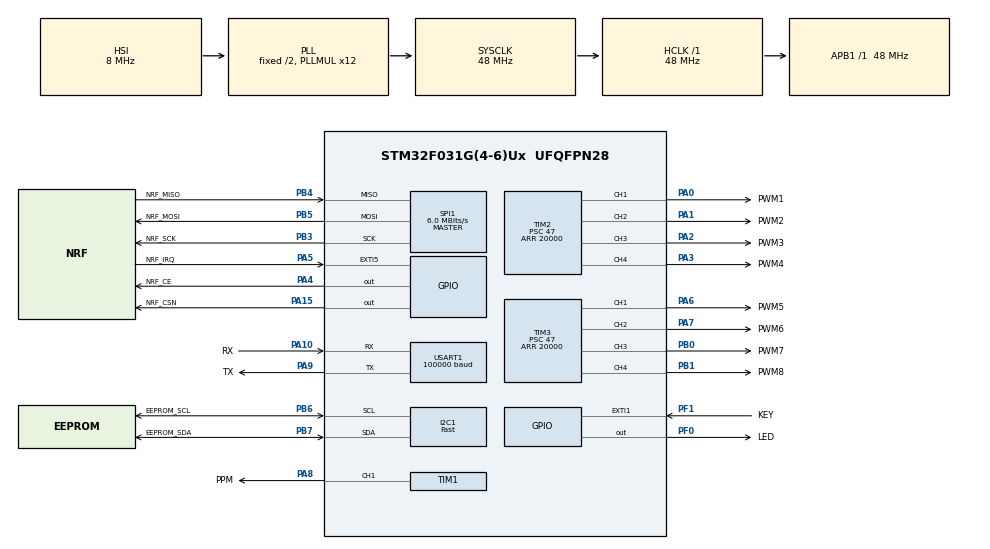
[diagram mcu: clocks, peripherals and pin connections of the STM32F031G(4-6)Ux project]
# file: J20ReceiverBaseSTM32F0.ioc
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Dma.Request0=TIM1_CH1
Dma.TIM1_CH1.0.Direction=DMA_MEMORY_TO_PERIPH
Dma.TIM1_CH1.0.Instance=DMA1_Channel2
Dma.TIM1_CH1.0.MemDataAlignment=DMA_MDATAALIGN_WORD
Dma.TIM1_CH1.0.MemInc=DMA_MINC_ENABLE
Dma.TIM1_CH1.0.Mode=DMA_CIRCULAR
Dma.TIM1_CH1.0.PeriphDataAlignment=DMA_PDATAALIGN_HALFWORD
Dma.TIM1_CH1.0.PeriphInc=DMA_PINC_DISABLE
Dma.TIM1_CH1.0.Priority=DMA_PRIORITY_MEDIUM
I2C1.I2C_Speed_Mode=I2C_Fast
I2C1.Timing=0x0000020B
Mcu.Family=STM32F0
Mcu.Name=STM32F031G(4-6)Ux
Mcu.Package=UFQFPN28
NVIC.DMA1_Channel2_3_IRQn=true\:0\:0\:false\:false\:true\:false\:true
NVIC.TIM17_IRQn=true\:1\:0\:true\:false\:true\:true\:true
NVIC.TIM1_CC_IRQn=true\:1\:0\:true\:false\:true\:true\:true
NVIC.USART1_IRQn=true\:2\:0\:true\:false\:true\:true\:true
PA0.GPIO_Label=PWM1
PA0.Signal=S_TIM2_CH1_ETR
PA1.GPIO_Label=PWM2
PA1.Signal=S_TIM2_CH2
PA10.GPIO_Label=RX
PA10.Mode=Asynchronous
PA10.Signal=USART1_RX
PA13.Mode=Serial_Wire
PA13.Signal=SYS_SWDIO
PA14.Mode=Serial_Wire
PA14.Signal=SYS_SWCLK
PA15.GPIO_Label=NRF_CSN
PA15.Signal=GPIO_Output
PA2.GPIO_Label=PWM3
PA2.Signal=S_TIM2_CH3
PA3.GPIO_Label=PWM4
PA3.Signal=S_TIM2_CH4
PA4.GPIO_Label=NRF_CE
PA4.Signal=GPIO_Output
PA5.GPIO_Label=NRF_IRQ
PA5.Signal=GPXTI5
PA6.GPIO_Label=PWM5
PA6.Signal=S_TIM3_CH1
PA7.GPIO_Label=PWM6
PA7.Signal=S_TIM3_CH2
PA8.GPIO_Label=PPM
PA8.GPIO_PuPd=GPIO_PULLUP
PA8.Signal=S_TIM1_CH1
PA9.GPIO_Label=TX
PA9.Mode=Asynchronous
PA9.Signal=USART1_TX
PB0.GPIO_Label=PWM7
PB0.Signal=S_TIM3_CH3
PB1.GPIO_Label=PWM8
PB1.Signal=S_TIM3_CH4
PB3.GPIO_Label=NRF_SCK
PB3.Mode=Full_Duplex_Master
PB3.Signal=SPI1_SCK
PB4.GPIO_Label=NRF_MISO
PB4.Mode=Full_Duplex_Master
PB4.Signal=SPI1_MISO
PB5.GPIO_Label=NRF_MOSI
PB5.Mode=Full_Duplex_Master
PB5.Signal=SPI1_MOSI
PB6.GPIO_Label=EEPROM_SCL
PB6.Mode=I2C
PB6.Signal=I2C1_SCL
PB7.GPIO_Label=EEPROM_SDA
PB7.Mode=I2C
PB7.Signal=I2C1_SDA
PF0-OSC_IN.GPIO_Label=LED
PF0-OSC_IN.GPIO_PuPd=GPIO_PULLUP
PF0-OSC_IN.PinState=GPIO_PIN_RESET
PF0-OSC_IN.Signal=GPIO_Output
PF1-OSC_OUT.GPIO_Label=KEY
PF1-OSC_OUT.GPIO_ModeDefaultEXTI=GPIO_MODE_IT_FALLING
PF1-OSC_OUT.GPIO_PuPd=GPIO_PULLUP
PF1-OSC_OUT.Signal=GPXTI1
ProjectManager.HeapSize=0x200
ProjectManager.StackSize=0x400
ProjectManager.TargetToolchain=MDK-ARM V5.27
RCC.AHBFreq_Value=48000000
RCC.APB1Freq_Value=48000000
RCC.APB1TimFreq_Value=48000000
RCC.HCLKFreq_Value=48000000
RCC.PLLMUL=RCC_PLL_MUL12
RCC.SYSCLKFreq_VALUE=48000000
RCC.SYSCLKSource=RCC_SYSCLKSOURCE_PLLCLK
SH.S_TIM1_CH1.0=TIM1_CH1,PWM Generation1 CH1
SH.S_TIM2_CH1_ETR.0=TIM2_CH1,PWM Generation1 CH1
SH.S_TIM2_CH2.0=TIM2_CH2,PWM Generation2 CH2
SH.S_TIM2_CH3.0=TIM2_CH3,PWM Generation3 CH3
SH.S_TIM2_CH4.0=TIM2_CH4,PWM Generation4 CH4
SH.S_TIM3_CH1.0=TIM3_CH1,PWM Generation1 CH1
SH.S_TIM3_CH2.0=TIM3_CH2,PWM Generation2 CH2
SH.S_TIM3_CH3.0=TIM3_CH3,PWM Generation3 CH3
SH.S_TIM3_CH4.0=TIM3_CH4,PWM Generation4 CH4
SPI1.BaudRatePrescaler=SPI_BAUDRATEPRESCALER_8
SPI1.CalculateBaudRate=6.0 MBits/s
SPI1.DataSize=SPI_DATASIZE_8BIT
SPI1.Direction=SPI_DIRECTION_2LINES
SPI1.Mode=SPI_MODE_MASTER
SPI1.VirtualType=VM_MASTER
TIM1.AutoReloadPreload=TIM_AUTORELOAD_PRELOAD_ENABLE
TIM1.Channel-PWM\ Generation1\ CH1=TIM_CHANNEL_1
TIM1.OCPolarity_1=TIM_OCPOLARITY_LOW
TIM1.Period=1500
TIM1.Prescaler=47
TIM1.Pulse-PWM\ Generation1\ CH1=500
TIM1.TIM_MasterOutputTrigger=TIM_TRGO_UPDATE
TIM17.AutoReloadPreload=TIM_AUTORELOAD_PRELOAD_ENABLE
TIM17.Period=9
TIM17.Prescaler=47999
TIM2.AutoReloadPreload=TIM_AUTORELOAD_PRELOAD_ENABLE
TIM2.Channel-PWM\ Generation1\ CH1=TIM_CHANNEL_1
TIM2.Channel-PWM\ Generation2\ CH2=TIM_CHANNEL_2
TIM2.Channel-PWM\ Generation3\ CH3=TIM_CHANNEL_3
TIM2.Channel-PWM\ Generation4\ CH4=TIM_CHANNEL_4
TIM2.Period=20000
TIM2.Prescaler=47
TIM2.Pulse-PWM\ Generation1\ CH1=1500
TIM2.Pulse-PWM\ Generation2\ CH2=1500
TIM2.Pulse-PWM\ Generation3\ CH3=1500
TIM2.Pulse-PWM\ Generation4\ CH4=1500
TIM3.AutoReloadPreload=TIM_AUTORELOAD_PRELOAD_ENABLE
TIM3.Channel-PWM\ Generation1\ CH1=TIM_CHANNEL_1
TIM3.Channel-PWM\ Generation2\ CH2=TIM_CHANNEL_2
TIM3.Channel-PWM\ Generation3\ CH3=TIM_CHANNEL_3
TIM3.Channel-PWM\ Generation4\ CH4=TIM_CHANNEL_4
TIM3.Period=20000
TIM3.Prescaler=47
TIM3.Pulse-PWM\ Generation1\ CH1=1500
TIM3.Pulse-PWM\ Generation2\ CH2=1500
TIM3.Pulse-PWM\ Generation3\ CH3=1500
TIM3.Pulse-PWM\ Generation4\ CH4=1500
USART1.BaudRate=100000
USART1.DataInvertParam=ADVFEATURE_DATAINV_DISABLE
USART1.OneBitSampling=UART_ONE_BIT_SAMPLE_ENABLE
USART1.Parity=PARITY_EVEN
USART1.RxPinLevelInvertParam=ADVFEATURE_RXINV_ENABLE
USART1.StopBits=STOPBITS_2
USART1.SwapParam=ADVFEATURE_SWAP_ENABLE
USART1.TxPinLevelInvertParam=ADVFEATURE_TXINV_ENABLE
USART1.VirtualMode-Asynchronous=VM_ASYNC
USART1.WordLength=WORDLENGTH_9B
VP_TIM17_VS_ClockSourceINT.Mode=Enable_Timer
board=custom

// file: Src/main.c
/* USER CODE BEGIN Header */
/*
Pin	PINs		FUNCTIONs	LABELs
2	PF0-OSC_IN	GPIO_Output	LED
3	PF1-OSC_OUT	GPIO_EXTI1	KEY
6	PA0			TIM2_CH1	PWM1
7	PA1			TIM2_CH2	PWM2
8	PA2			TIM2_CH3	PWM3
9	PA3			TIM2_CH4	PWM4
10	PA4			GPIO_Output	NRF_CE
11	PA5			GPIO_EXTI5	NRF_IRQ
12	PA6			TIM3_CH1	PWM5
13	PA7			TIM3_CH2	PWM6
14	PB0			TIM3_CH3	PWM7
15	PB1			TIM3_CH4	PWM8
18	PA8			TIM1_CH1	PPM
19	PA9			USART1_TX	TX
20	PA10		USART1_RX	RX
21	PA13		SYS_SWDIO
22	PA14		SYS_SWCLK
23	PA15		GPIO_Output	NRF_CSN
24	PB3			SPI1_SCK	NRF_SCK
25	PB4			SPI1_MISO	NRF_MISO
26	PB5			SPI1_MOSI	NRF_MOSI
27	PB6			I2C1_SCL	EEPROM_SCL
28	PB7			I2C1_SDA	EEPROM_SDA
*/
/* USER CODE END Header */

#include "main.h"
#include "dma.h"
#include "i2c.h"
#include "spi.h"
#include "tim.h"
#include "usart.h"
#include "gpio.h"

/* USER CODE BEGIN Includes */
#include "stdio.h"
#include "nrf24L01.h"
/* USER CODE END Includes */

/* USER CODE BEGIN PV */
u8 update_count = 0;
uint16_t CH_Safe[16];			//系统保存的失控保护通道值
uint32_t CH_PPM[9];				//该缓存区仅用于DMA搬运PPM，因此需要8个最后一个用于计算间隔。
u16 PWMvalue[SBUS_CHANNEL_NUMBER];// 控制PWM占空比
u16 recPWMvalue[SBUS_CHANNEL_NUMBER];// 控制PWM占空比
u8 sbusPacket[SBUS_PACKET_LENGTH];// 25个字节的SBUS数据包
u8 signalLoss = 0;  // 1表示丢失信号
u16 i=0,startIndex=0;
u32 nowTime = 0;
u32 lastTime = 0;
u32 sbusTime = 0;
u8 chPacket[32];
/* USER CODE END PV */

void SystemClock_Config(void);
/* USER CODE BEGIN PFP */
HAL_StatusTypeDef My_HAL_TIM_PWM_Start_DMA(TIM_HandleTypeDef *htim, uint32_t Channel, uint32_t *pData, uint16_t Length);
/* USER CODE END PFP */

int main(void)
{

  /* MCU Configuration--------------------------------------------------------*/

  /* Reset of all peripherals, Initializes the Flash interface and the Systick. */
  HAL_Init();

  /* Configure the system clock */
  SystemClock_Config();

  /* Initialize all configured peripherals */
  MX_GPIO_Init();
  MX_DMA_Init();
  MX_I2C1_Init();
  MX_SPI1_Init();
  MX_TIM1_Init();
  MX_TIM2_Init();
  MX_TIM3_Init();
  MX_USART1_UART_Init();
  MX_TIM17_Init();

  /* Infinite loop */
  /* USER CODE BEGIN WHILE */
	HAL_Delay(500);
	//启动后首先需要从EEPROM中读取配置信息，用于确定无线模块参数、运行模式、失控保护等。

	//配置无线模块
	NRF24L01_Init();

	//下面的值是方便调试写的，实际使用从EEPROM读取
	for(i = 0; i<16; i ++) {CH_Safe[i]=1500;}
	CH_Safe[2] = 1000;		//油门通道最低

	//初始各通道值，以失控保护值为准
	for(i = 0; i<16; i ++) {PWMvalue[i] = CH_Safe[i];}

	//PPM
	for(i = 0; i<8; i ++) {CH_PPM[i] = PWMvalue[i];}
	CH_PPM[8] = 20000 - CH_PPM[0] - CH_PPM[1] - CH_PPM[2] - CH_PPM[3] - CH_PPM[4] - CH_PPM[5] - CH_PPM[6] - CH_PPM[7];
	My_HAL_TIM_PWM_Start_DMA(&htim1, TIM_CHANNEL_1, CH_PPM, 9);

	//PWM
	TIM2->CCR1 = PWMvalue[0];
	TIM2->CCR2 = PWMvalue[1];
	TIM2->CCR3 = PWMvalue[2];
	TIM2->CCR4 = PWMvalue[3];
	TIM3->CCR1 = PWMvalue[4];
	TIM3->CCR2 = PWMvalue[5];
	TIM3->CCR3 = PWMvalue[6];
	TIM3->CCR4 = PWMvalue[7];
	HAL_TIM_PWM_Start(&htim2, TIM_CHANNEL_1);
	HAL_TIM_PWM_Start(&htim2, TIM_CHANNEL_2);
	HAL_TIM_PWM_Start(&htim2, TIM_CHANNEL_3);
	HAL_TIM_PWM_Start(&htim2, TIM_CHANNEL_4);
	HAL_TIM_PWM_Start(&htim3, TIM_CHANNEL_1);
	HAL_TIM_PWM_Start(&htim3, TIM_CHANNEL_2);
	HAL_TIM_PWM_Start(&htim3, TIM_CHANNEL_3);
	HAL_TIM_PWM_Start(&htim3, TIM_CHANNEL_4);

	HAL_TIM_Base_Start_IT(&htim17);

	while(NRF24L01_Check())
	{
 		HAL_Delay(1000);
		HAL_GPIO_TogglePin(LED_GPIO_Port, LED_Pin);//闪烁LED
	}
	NRF24L01_RX_Mode();

  while (1)
  {

    /* USER CODE END WHILE */

    /* USER CODE BEGIN 3 */
	if(NRF24L01_RxPacket(chPacket)==0)
	{
		for(i=0;i<32-chNum*2;i++)//寻找起始位置，一般在第2-3个元素
		{
			if(chPacket[i]==0x00 & chPacket[i+1]==0x00)
			{
				startIndex = i+2;
				break;
			}
		}
		for(i=0;i<chNum;i++)//从起始位置开始处理
		{
			recPWMvalue[i] = ((u16)chPacket[startIndex] << 8) | ((u16)(chPacket[startIndex+1]));// 合并u8为u16
			if(recPWMvalue[i]!=0) PWMvalue[i] = recPWMvalue[i];
			startIndex = startIndex+2;
		}
		for (i=chNum; i<16; i++)
		{
			PWMvalue[i] = 1500;//未用到的通道全部置中
		}
		//printf("%d,%d,%d,%d\n",PWMvalue[0],PWMvalue[1],PWMvalue[2],PWMvalue[3]);
		LED_LOW();
		lastTime = nowTime;
	}
	if(nowTime-lastTime>2000)//距离上次接收时间大于2s，则说明失去信号
	{
		HAL_GPIO_TogglePin(LED_GPIO_Port, LED_Pin);//闪烁LED
		signalLoss = 1;//失去信号标志
		PWMvalue[0] = 1500;//通道1置中
		PWMvalue[1] = 1500;//通道2置中
		PWMvalue[2] = 1000;//油门最低
		PWMvalue[3] = 1500;//通道4置中
		HAL_Delay(200);
	}
  }
  /* USER CODE END 3 */
}

void SystemClock_Config(void)
{
  RCC_OscInitTypeDef RCC_OscInitStruct = {0};
  RCC_ClkInitTypeDef RCC_ClkInitStruct = {0};
  RCC_PeriphCLKInitTypeDef PeriphClkInit = {0};

  /** Initializes the CPU, AHB and APB busses clocks
  */
  RCC_OscInitStruct.OscillatorType = RCC_OSCILLATORTYPE_HSI;
  RCC_OscInitStruct.HSIState = RCC_HSI_ON;
  RCC_OscInitStruct.HSICalibrationValue = RCC_HSICALIBRATION_DEFAULT;
  RCC_OscInitStruct.PLL.PLLState = RCC_PLL_ON;
  RCC_OscInitStruct.PLL.PLLSource = RCC_PLLSOURCE_HSI;
  RCC_OscInitStruct.PLL.PLLMUL = RCC_PLL_MUL12;
  RCC_OscInitStruct.PLL.PREDIV = RCC_PREDIV_DIV1;
  if (HAL_RCC_OscConfig(&RCC_OscInitStruct) != HAL_OK)
  {
    Error_Handler();
  }
  /** Initializes the CPU, AHB and APB busses clocks
  */
  RCC_ClkInitStruct.ClockType = RCC_CLOCKTYPE_HCLK|RCC_CLOCKTYPE_SYSCLK
                              |RCC_CLOCKTYPE_PCLK1;
  RCC_ClkInitStruct.SYSCLKSource = RCC_SYSCLKSOURCE_PLLCLK;
  RCC_ClkInitStruct.AHBCLKDivider = RCC_SYSCLK_DIV1;
  RCC_ClkInitStruct.APB1CLKDivider = RCC_HCLK_DIV1;

  if (HAL_RCC_ClockConfig(&RCC_ClkInitStruct, FLASH_LATENCY_1) != HAL_OK)
  {
    Error_Handler();
  }
  PeriphClkInit.PeriphClockSelection = RCC_PERIPHCLK_USART1|RCC_PERIPHCLK_I2C1;
  PeriphClkInit.Usart1ClockSelection = RCC_USART1CLKSOURCE_PCLK1;
  PeriphClkInit.I2c1ClockSelection = RCC_I2C1CLKSOURCE_HSI;
  if (HAL_RCCEx_PeriphCLKConfig(&PeriphClkInit) != HAL_OK)
  {
    Error_Handler();
  }
}

/* USER CODE BEGIN 4 */
void HAL_TIM_PeriodElapsedCallback(TIM_HandleTypeDef *htim)
{
	//定时器17用作系统定时器，运行频率为1000Hz，提供系统心跳1ms一次
	if (htim->Instance == htim17.Instance)
	{
		nowTime ++;//对系统计数器进行累加

		update_count++;
		if(update_count == 100) {update_count = 0;}
		//根据读取无线模块的通道数据输出PWM，10ms更新一次。
		if(update_count % 10 == 0)
		{
			TIM2->CCR1 = PWMvalue[0];
			TIM2->CCR2 = PWMvalue[1];
			TIM2->CCR3 = PWMvalue[2];
			TIM2->CCR4 = PWMvalue[3];
			TIM3->CCR1 = PWMvalue[4];
			TIM3->CCR2 = PWMvalue[5];
			TIM3->CCR3 = PWMvalue[6];
			TIM3->CCR4 = PWMvalue[7];
		}
		if(update_count % SBUS_UPDATE_RATE == 0)
		{
			//输出S.bus，10ms更新一次
			sbusPreparePacket(sbusPacket, PWMvalue, signalLoss, 0); //chNum通道数值转换为SBUS数据包
			HAL_UART_Transmit_IT(&huart1, (uint8_t *)sbusPacket, sizeof(sbusPacket));
		}

		//按键应该在按下时记录当前 Sys_count ，并且计算出下一个检查值，
		//并根据情况在Sys_count 到达检查值时进行判断处理。
		/*if((Sys_count == check_value) && (Key_Status == Key_Mode))…………*/
	}
}
void HAL_TIM_PWM_PulseFinishedCallback(TIM_HandleTypeDef *htim)
{
	for(uint8_t i = 0; i != 8; i ++) {CH_PPM[i] = PWMvalue[i];}
	CH_PPM[8] = 20000 - CH_PPM[0] - CH_PPM[1] - CH_PPM[2] - CH_PPM[3] - CH_PPM[4] - CH_PPM[5] - CH_PPM[6] - CH_PPM[7];
}

//改变原有库函数，将DMA目标寄存器改为ARR。
HAL_StatusTypeDef My_HAL_TIM_PWM_Start_DMA(TIM_HandleTypeDef *htim, uint32_t Channel, uint32_t *pData, uint16_t Length)
{
  uint32_t tmpsmcr;

  /* Check the parameters */
  assert_param(IS_TIM_CCX_INSTANCE(htim->Instance, Channel));

  if (htim->State == HAL_TIM_STATE_BUSY)
  {
    return HAL_BUSY;
  }
  else if (htim->State == HAL_TIM_STATE_READY)
  {
    if ((pData == NULL) && (Length > 0U))
    {
      return HAL_ERROR;
    }
    else
    {
      htim->State = HAL_TIM_STATE_BUSY;
    }
  }
  else
  {
    /* nothing to do */
  }

  switch (Channel)
  {
    case TIM_CHANNEL_1:
    {
      /* Set the DMA compare callbacks */
      htim->hdma[TIM_DMA_ID_CC1]->XferCpltCallback = TIM_DMADelayPulseCplt;
      htim->hdma[TIM_DMA_ID_CC1]->XferHalfCpltCallback = TIM_DMADelayPulseHalfCplt;

      /* Set the DMA error callback */
      htim->hdma[TIM_DMA_ID_CC1]->XferErrorCallback = TIM_DMAError ;

      /* Enable the DMA channel */
      if (HAL_DMA_Start_IT(htim->hdma[TIM_DMA_ID_CC1], (uint32_t)pData, (uint32_t)&htim->Instance->ARR, Length) != HAL_OK)
      {
        return HAL_ERROR;
      }

      /* Enable the TIM Capture/Compare 1 DMA request */
      __HAL_TIM_ENABLE_DMA(htim, TIM_DMA_CC1);
      break;
    }

    case TIM_CHANNEL_2:
    {
      /* Set the DMA compare callbacks */
      htim->hdma[TIM_DMA_ID_CC2]->XferCpltCallback = TIM_DMADelayPulseCplt;
      htim->hdma[TIM_DMA_ID_CC2]->XferHalfCpltCallback = TIM_DMADelayPulseHalfCplt;

      /* Set the DMA error callback */
      htim->hdma[TIM_DMA_ID_CC2]->XferErrorCallback = TIM_DMAError ;

      /* Enable the DMA channel */
      if (HAL_DMA_Start_IT(htim->hdma[TIM_DMA_ID_CC2], (uint32_t)pData, (uint32_t)&htim->Instance->CCR2, Length) != HAL_OK)
      {
        return HAL_ERROR;
      }
      /* Enable the TIM Capture/Compare 2 DMA request */
      __HAL_TIM_ENABLE_DMA(htim, TIM_DMA_CC2);
      break;
    }

    case TIM_CHANNEL_3:
    {
      /* Set the DMA compare callbacks */
      htim->hdma[TIM_DMA_ID_CC3]->XferCpltCallback = TIM_DMADelayPulseCplt;
      htim->hdma[TIM_DMA_ID_CC3]->XferHalfCpltCallback = TIM_DMADelayPulseHalfCplt;

      /* Set the DMA error callback */
      htim->hdma[TIM_DMA_ID_CC3]->XferErrorCallback = TIM_DMAError ;

      /* Enable the DMA channel */
      if (HAL_DMA_Start_IT(htim->hdma[TIM_DMA_ID_CC3], (uint32_t)pData, (uint32_t)&htim->Instance->CCR3, Length) != HAL_OK)
      {
        return HAL_ERROR;
      }
      /* Enable the TIM Output Capture/Compare 3 request */
      __HAL_TIM_ENABLE_DMA(htim, TIM_DMA_CC3);
      break;
    }

    case TIM_CHANNEL_4:
    {
      /* Set the DMA compare callbacks */
      htim->hdma[TIM_DMA_ID_CC4]->XferCpltCallback = TIM_DMADelayPulseCplt;
      htim->hdma[TIM_DMA_ID_CC4]->XferHalfCpltCallback = TIM_DMADelayPulseHalfCplt;

      /* Set the DMA error callback */
      htim->hdma[TIM_DMA_ID_CC4]->XferErrorCallback = TIM_DMAError ;

      /* Enable the DMA channel */
      if (HAL_DMA_Start_IT(htim->hdma[TIM_DMA_ID_CC4], (uint32_t)pData, (uint32_t)&htim->Instance->CCR4, Length) != HAL_OK)
      {
        return HAL_ERROR;
      }
      /* Enable the TIM Capture/Compare 4 DMA request */
      __HAL_TIM_ENABLE_DMA(htim, TIM_DMA_CC4);
      break;
    }

    default:
      break;
  }

  /* Enable the Capture compare channel */
  TIM_CCxChannelCmd(htim->Instance, Channel, TIM_CCx_ENABLE);

  if (IS_TIM_BREAK_INSTANCE(htim->Instance) != RESET)
  {
    /* Enable the main output */
    __HAL_TIM_MOE_ENABLE(htim);
  }

  /* Enable the Peripheral, except in trigger mode where enable is automatically done with trigger */
  tmpsmcr = htim->Instance->SMCR & TIM_SMCR_SMS;
  if (!IS_TIM_SLAVEMODE_TRIGGER_ENABLED(tmpsmcr))
  {
    __HAL_TIM_ENABLE(htim);
  }

  /* Return function status */
  return HAL_OK;
}

/*PPM没有调通，实在不行就当作第9通道用吧
void HAL_TIM_OC_DelayElapsedCallback(TIM_HandleTypeDef *htim)
{
	if (htim->Instance == htim1.Instance)
	{
		TIM1->ARR = CH_PPM[PPM_count];
		PPM_count ++;
		if(PPM_count == 8)
		{
			PPM_count = 0;
			//HAL_TIM_PWM_Stop(&htim1, TIM_CHANNEL_1);
			//HAL_TIM_Base_Stop(&htim1);
		}
	}
}

*/
/* USER CODE END 4 */

void Error_Handler(void)
{
}

/************************ (C) COPYRIGHT STMicroelectronics *****END OF FILE****/
